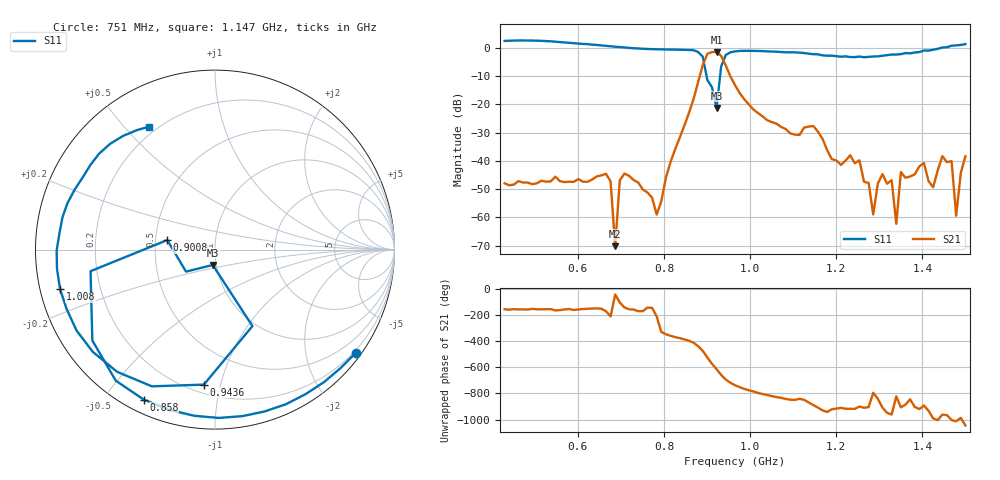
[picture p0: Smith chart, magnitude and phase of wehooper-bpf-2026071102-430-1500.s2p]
# HZ S RI R 50
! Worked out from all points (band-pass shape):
!   101 points, 430 MHz to 1.5 GHz, reference 50 ohm
!   highest |S21| = -1.40 dB at 922.2 MHz (marker M1); lowest = -70.2 dB at 686.8 MHz (marker M2)
!   |S21| within 3 dB of the highest: 894.5 MHz to 938 MHz (43.43 MHz wide, 4.74 % of centre)
!   lowest |S11| = -21.3 dB at 922.2 MHz (marker M3), VSWR 1.19, Z = 48.1 - j8.3 ohm
!   |S11| at or under -10 dB: 899.1 MHz to 930.3 MHz (31.27 MHz wide, 3.42 % of centre)
!   S12 and S22 are empty: the file has one direction only
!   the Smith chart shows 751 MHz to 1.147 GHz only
!   S11 on the Smith chart (normalised r, x): 751 MHz: 0.14, -3.05; 858 MHz: 0.05, -0.63; 900.8 MHz: 0.58, +0.07; 943.6 MHz: 0.25, -0.89; 1.008 GHz: 0.06, -0.13; 1.147 GHz: 0.17, +0.58
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4.3e8  -1.187 0.6161  -0.00369 -0.00155  0 0  0 0
6.119e8  0.7761 0.8923  -0.00389 -0.00179  0 0  0 0
6.761e8  1.054 0.2121  -0.00368 0.00228  0 0  0 0
6.868e8  1.051 0.0863  0.000219 -0.000217  0 0  0 0
6.975e8  1.041 -0.035  -0.00123 -0.00435  0 0  0 0
7.51e8  0.7842 -0.575  -0.00307 -0.000457  0 0  0 0
7.938e8  0.3954 -0.8614  0.00167 0.000959  0 0  0 0
8.58e8  -0.3964 -0.8361  0.0557 -0.0431  0 0  0 0
9.008e8  -0.2659 0.053  -0.7669 -0.1968  0 0  0 0
9.222e8  -0.0124 -0.0856  -0.2215 0.8219  0 0  0 0
9.436e8  -0.0619 -0.7521  0.4416 0.2109  0 0  0 0
9.65e8  -0.5453 -0.681  0.2108 -0.0653  0 0  0 0
1.0078e9  -0.863 -0.2216  0.0345 -0.0738  0 0  0 0
1.1469e9  -0.3703 0.6837  -0.0407 -0.00814  0 0  0 0
1.2539e9  0.3239 0.6281  -0.0102 2.31e-05  0 0  0 0
1.286e9  0.4927 0.5091  0.000284 -0.00109  0 0  0 0
1.3288e9  0.718 0.2671  -0.00217 0.00399  0 0  0 0
1.3395e9  0.7415 0.1964  -0.000162 -0.00075  0 0  0 0
1.3502e9  0.7653 0.1492  -0.0063 0.000743  0 0  0 0
1.4679e9  0.6912 -0.8511  0.00227 0.00966  0 0  0 0
1.4786e9  0.6668 -0.895  0.000409 0.000986  0 0  0 0
1.5e9  0.4871 -1.07  0.00984 0.00701  0 0  0 0
